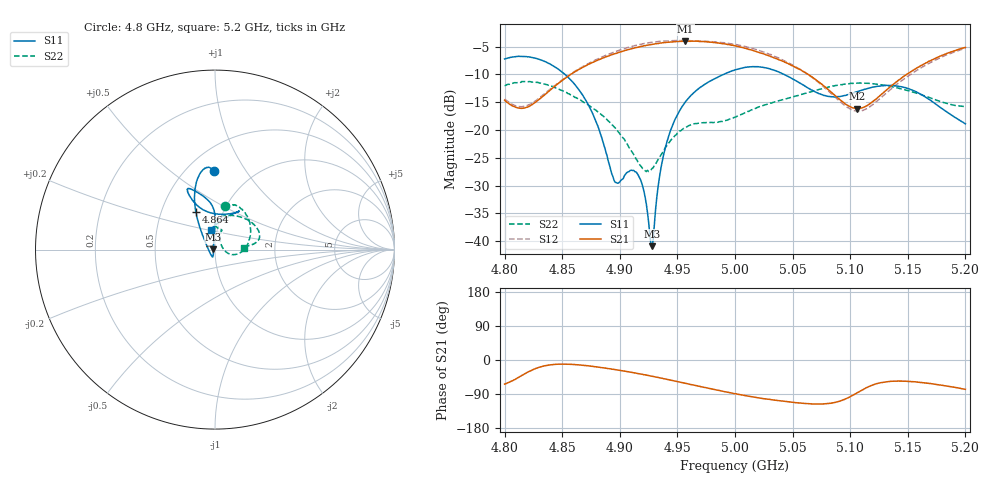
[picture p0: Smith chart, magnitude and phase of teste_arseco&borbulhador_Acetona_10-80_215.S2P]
! Network Analyzer HP8722D
! Hewlett-Packard
! Data name: Linha & Wilkinson
! Saver's name: Rodrigo Anjos
! Comments: Teste da utilização de aquisição
! continua pelo VNA HP8722D
! Time and date: 25/4/2025 17:03
!  Frequency  S11  S21  S12  S22
# HZ  S  MA R 50
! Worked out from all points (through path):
!   401 points, 4.8 GHz to 5.2 GHz, reference 50 ohm
!   highest |S21| = -4.00 dB at 4.957 GHz (marker M1); lowest = -16.2 dB at 5.106 GHz (marker M2)
!   lowest |S11| = -40.9 dB at 4.928 GHz (marker M3), VSWR 1.02, Z = 49.1 + j0.148 ohm
!   |S11| at or under -10 dB: 4.852 GHz to 4.99 GHz (137.6 MHz wide, 2.8 % of centre); 5.043 GHz to end of sweep
!   |S22| runs from -27.5 to -11.3 dB; largest |S21 - S12| = 1.2
!   S11 on the Smith chart (normalised r, x): 4.8 GHz: 0.67, +0.72; 4.864 GHz: 0.75, +0.33; 5.2 GHz: 0.93, +0.21
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4.8e9  0.4363 91.0  0.1854 -63.7  0.19 69.8  0.2497 77.2
4.82e9  0.4549 97.2  0.1609 -32.1  0.167 98.6  0.2715 61.8
4.843e9  0.3741 106.6  0.2453 -11.7  0.2492 118.9  0.2425 36.5
4.864e9  0.2338 117.1  0.3489 -12.8  0.352 120.9  0.1901 12.2
4.867e9  0.2111 118.8  0.3634 -13.8  0.3665 120.7  0.1824 8.7
4.88e9  0.1143 128.9  0.4219 -18.4  0.432 118.2  0.1482 -5.2
4.896e9  0.03379 -169.5  0.4863 -25.3  0.5059 113.1  0.1045 -15.6
4.91e9  0.04349 -109.6  0.5374 -32.4  0.5634 107.1  0.06475 -12.9
4.917e9  0.03738 -106.3  0.5602 -36.4  0.5873 103.6  0.04914 0.2
4.921e9  0.02793 -110.6  0.5736 -38.8  0.6002 101.4  0.04418 12.6
4.926e9  0.01158 -142.5  0.5843 -41.7  0.6114 98.4  0.0428 33.2
4.928e9  0.009001 170.4  0.5892 -42.8  0.6152 97.1  0.04505 40.6
4.934e9  0.03518 101.1  0.602 -46.6  0.6278 93.3  0.05564 57.7
4.943e9  0.09192 91.6  0.618 -52.4  0.6357 87.5  0.07768 68.2
4.957e9  0.1796 89.8  0.631 -61.5  0.6375 78.6  0.106 70.5
5e9  0.3475 109.3  0.5718 -88.9  0.5912 50.8  0.1303 88.1
5.029e9  0.3583 115.3  0.468 -103.7  0.4841 34.3  0.1721 85.7
5.067e9  0.228 105.6  0.2995 -115.8  0.2968 23.6  0.2221 57.0
5.106e9  0.2211 65.3  0.1556 -86.6  0.1479 56.3  0.2633 24.8
5.134e9  0.2516 57.8  0.2411 -56.4  0.2265 88.8  0.2482 12.4
5.169e9  0.1869 70.7  0.4179 -61.9  0.4012 84.9  0.1951 6.8
5.2e9  0.1137 101.0  0.554 -77.4  0.5428 70.2  0.1621 3.7
